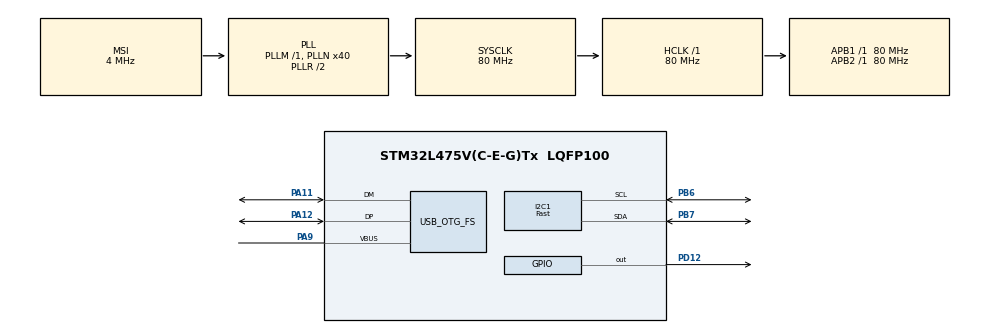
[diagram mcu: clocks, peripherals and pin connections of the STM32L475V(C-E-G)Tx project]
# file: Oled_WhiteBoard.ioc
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FREERTOS.Tasks01=USBTask,33,128,vUSB_HIDTask,Default,NULL,Dynamic,NULL,NULL;MouseMVMT,32,128,vMouseMouvementCalculation,Default,NULL,Dynamic,NULL,NULL
FREERTOS.configUSE_NEWLIB_REENTRANT=1
I2C1.I2C_Speed_Mode=I2C_Fast
I2C1.Timing=0x00702991
Mcu.Family=STM32L4
Mcu.Name=STM32L475V(C-E-G)Tx
Mcu.Package=LQFP100
NVIC.OTG_FS_IRQn=true\:5\:0\:false\:false\:true\:true\:false\:true\:true
NVIC.PriorityGroup=NVIC_PRIORITYGROUP_4
NVIC.TIM1_UP_TIM16_IRQn=true\:15\:0\:false\:false\:true\:false\:false\:true\:true
NVIC.TimeBase=TIM1_UP_TIM16_IRQn
NVIC.TimeBaseIP=TIM1
PA11.Mode=Host_Only
PA11.Signal=USB_OTG_FS_DM
PA12.Mode=Host_Only
PA12.Signal=USB_OTG_FS_DP
PA9.Mode=Activate_VBUS
PA9.Signal=USB_OTG_FS_VBUS
PB6.Mode=I2C
PB6.Signal=I2C1_SCL
PB7.Mode=I2C
PB7.Signal=I2C1_SDA
PD12.Signal=GPIO_Output
ProjectManager.HeapSize=0x200
ProjectManager.StackSize=0x400
ProjectManager.TargetToolchain=STM32CubeIDE
RCC.ADCFreq_Value=48000000
RCC.AHBFreq_Value=80000000
RCC.APB1Freq_Value=80000000
RCC.APB1TimFreq_Value=80000000
RCC.APB2Freq_Value=80000000
RCC.APB2TimFreq_Value=80000000
RCC.CortexFreq_Value=80000000
RCC.HCLKFreq_Value=80000000
RCC.HSE_VALUE=8000000
RCC.HSI_VALUE=16000000
RCC.LSE_VALUE=32768
RCC.MSI_VALUE=4000000
RCC.PLLN=40
RCC.PLLSAI1N=24
RCC.SYSCLKFreq_VALUE=80000000
RCC.SYSCLKSource=RCC_SYSCLKSOURCE_PLLCLK
RCC.USBFreq_Value=48000000
RCC.VCOOutputFreq_Value=160000000
USB_HOST.BSP.number=1
USB_HOST.USBH_HandleTypeDef=hUsbHostFS
USB_HOST.USBH_PROCESS_PRIO=osPriorityRealtime
USB_HOST.USBH_PROCESS_STACK_SIZE=128*4
USB_HOST.VirtualModeFS=Hid
USB_HOST0.BSP.STBoard=false
USB_HOST0.BSP.api=Unknown
USB_HOST0.BSP.instance=PD12
USB_HOST0.BSP.ip=GPIO
USB_HOST0.BSP.mode=Output
USB_HOST0.BSP.name=Drive_VBUS_FS
USB_HOST0.BSP.solution=PD12
USB_OTG_FS.VirtualMode=Host_Only
USB_OTG_FS.phy_itface=HCD_PHY_EMBEDDED
VP_FREERTOS_VS_CMSIS_V2.Mode=CMSIS_V2
VP_SYS_VS_tim1.Mode=TIM1
VP_USB_HOST_VS_USB_HOST_HID_FS.Mode=HID_FS
board=B-L475E-IOT01A1

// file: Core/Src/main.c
/* USER CODE BEGIN Header */
/**
 ******************************************************************************
 * @file           : main.c
 * @brief          : Main program body
 ******************************************************************************
 * @attention
 *
 * Copyright (c) 2023 STMicroelectronics.
 * All rights reserved.
 *
 * This software is licensed under terms that can be found in the LICENSE file
 * in the root directory of this software component.
 * If no LICENSE file comes with this software, it is provided AS-IS.
 *
 ******************************************************************************
 */
/* USER CODE END Header */
#include "main.h"
#include "cmsis_os.h"
#include "usb_host.h"

/* USER CODE BEGIN Includes */
#include "usbh_hid.h"
#include "FreeRTOS.h"
#include "queue.h"
#include "task.h"
/* USER CODE END Includes */

/* USER CODE BEGIN PTD */
typedef struct
{
	int16_t MouseSpeed_X;
	uint8_t RightButtonPressed;
}MouseMouvementReport;

/* USER CODE END PTD */

/* USER CODE BEGIN PM */
#define MOUVEMENT_QUEUE_SIZE 100
/* USER CODE END PM */

I2C_HandleTypeDef hi2c1;

/* Definitions for USBTask */
osThreadId_t USBTaskHandle;
const osThreadAttr_t USBTask_attributes = {
		.name = "USBTask",
		.stack_size = 128 * 4,
		.priority = (osPriority_t) osPriorityAboveNormal1,
};
/* Definitions for MouseMVMT */
osThreadId_t MouseMVMTHandle;
const osThreadAttr_t MouseMVMT_attributes = {
		.name = "MouseMVMT",
		.stack_size = 128 * 4,
		.priority = (osPriority_t) osPriorityAboveNormal,
};
/* USER CODE BEGIN PV */
HID_MOUSE_Info_TypeDef* HID_Mouse_CurrentInfos ;
int x , y ;

/* FREERTOS Objects Creation BEGIN */
QueueHandle_t MouseMouvementQueue ;
TaskHandle_t MouvementCalculationTask ;
/* FREERTOS Objects Creation END */

/* USER CODE END PV */

void SystemClock_Config(void);
static void MX_GPIO_Init(void);
static void MX_I2C1_Init(void);
void vUSB_HIDTask(void *argument);
void vMouseMouvementCalculation(void *argument);

int main(void)
{

	/* MCU Configuration--------------------------------------------------------*/

	/* Reset of all peripherals, Initializes the Flash interface and the Systick. */
	HAL_Init();

	/* Configure the system clock */
	SystemClock_Config();

	/* Initialize all configured peripherals */
	MX_GPIO_Init();
	MX_I2C1_Init();

	/* Init scheduler */
	osKernelInitialize();

	/* USER CODE BEGIN RTOS_QUEUES */
	/* add queues, ... */
	MouseMouvementQueue = xQueueCreate( MOUVEMENT_QUEUE_SIZE , sizeof ( MouseMouvementReport ) ) ;

	/* USER CODE END RTOS_QUEUES */

	/* Create the thread(s) */
	/* creation of USBTask */
	USBTaskHandle = osThreadNew(vUSB_HIDTask, NULL, &USBTask_attributes);

	/* creation of MouseMVMT */
	MouseMVMTHandle = osThreadNew(vMouseMouvementCalculation, NULL, &MouseMVMT_attributes);

	/* Start scheduler */
	osKernelStart();

	/* We should never get here as control is now taken by the scheduler */
	/* Infinite loop */
	while (1)
	{

	}
}

void SystemClock_Config(void)
{
	RCC_OscInitTypeDef RCC_OscInitStruct = {0};
	RCC_ClkInitTypeDef RCC_ClkInitStruct = {0};

	/** Configure the main internal regulator output voltage
	 */
	if (HAL_PWREx_ControlVoltageScaling(PWR_REGULATOR_VOLTAGE_SCALE1) != HAL_OK)
	{
		Error_Handler();
	}

	/** Initializes the RCC Oscillators according to the specified parameters
	 * in the RCC_OscInitTypeDef structure.
	 */
	RCC_OscInitStruct.OscillatorType = RCC_OSCILLATORTYPE_MSI;
	RCC_OscInitStruct.MSIState = RCC_MSI_ON;
	RCC_OscInitStruct.MSICalibrationValue = 0;
	RCC_OscInitStruct.MSIClockRange = RCC_MSIRANGE_6;
	RCC_OscInitStruct.PLL.PLLState = RCC_PLL_ON;
	RCC_OscInitStruct.PLL.PLLSource = RCC_PLLSOURCE_MSI;
	RCC_OscInitStruct.PLL.PLLM = 1;
	RCC_OscInitStruct.PLL.PLLN = 40;
	RCC_OscInitStruct.PLL.PLLP = RCC_PLLP_DIV7;
	RCC_OscInitStruct.PLL.PLLQ = RCC_PLLQ_DIV2;
	RCC_OscInitStruct.PLL.PLLR = RCC_PLLR_DIV2;
	if (HAL_RCC_OscConfig(&RCC_OscInitStruct) != HAL_OK)
	{
		Error_Handler();
	}

	/** Initializes the CPU, AHB and APB buses clocks
	 */
	RCC_ClkInitStruct.ClockType = RCC_CLOCKTYPE_HCLK|RCC_CLOCKTYPE_SYSCLK
			|RCC_CLOCKTYPE_PCLK1|RCC_CLOCKTYPE_PCLK2;
	RCC_ClkInitStruct.SYSCLKSource = RCC_SYSCLKSOURCE_PLLCLK;
	RCC_ClkInitStruct.AHBCLKDivider = RCC_SYSCLK_DIV1;
	RCC_ClkInitStruct.APB1CLKDivider = RCC_HCLK_DIV1;
	RCC_ClkInitStruct.APB2CLKDivider = RCC_HCLK_DIV1;

	if (HAL_RCC_ClockConfig(&RCC_ClkInitStruct, FLASH_LATENCY_4) != HAL_OK)
	{
		Error_Handler();
	}
}

static void MX_I2C1_Init(void)
{

	hi2c1.Instance = I2C1;
	hi2c1.Init.Timing = 0x00702991;
	hi2c1.Init.OwnAddress1 = 0;
	hi2c1.Init.AddressingMode = I2C_ADDRESSINGMODE_7BIT;
	hi2c1.Init.DualAddressMode = I2C_DUALADDRESS_DISABLE;
	hi2c1.Init.OwnAddress2 = 0;
	hi2c1.Init.OwnAddress2Masks = I2C_OA2_NOMASK;
	hi2c1.Init.GeneralCallMode = I2C_GENERALCALL_DISABLE;
	hi2c1.Init.NoStretchMode = I2C_NOSTRETCH_DISABLE;
	if (HAL_I2C_Init(&hi2c1) != HAL_OK)
	{
		Error_Handler();
	}

	/** Configure Analogue filter
	 */
	if (HAL_I2CEx_ConfigAnalogFilter(&hi2c1, I2C_ANALOGFILTER_ENABLE) != HAL_OK)
	{
		Error_Handler();
	}

	/** Configure Digital filter
	 */
	if (HAL_I2CEx_ConfigDigitalFilter(&hi2c1, 0) != HAL_OK)
	{
		Error_Handler();
	}

}

static void MX_GPIO_Init(void)
{
	GPIO_InitTypeDef GPIO_InitStruct = {0};

	/* GPIO Ports Clock Enable */
	__HAL_RCC_GPIOD_CLK_ENABLE();
	__HAL_RCC_GPIOA_CLK_ENABLE();
	__HAL_RCC_GPIOB_CLK_ENABLE();

	/*Configure GPIO pin Output Level */
	HAL_GPIO_WritePin(GPIOD, GPIO_PIN_12, GPIO_PIN_RESET);

	/*Configure GPIO pin : PD12 */
	GPIO_InitStruct.Pin = GPIO_PIN_12;
	GPIO_InitStruct.Mode = GPIO_MODE_OUTPUT_PP;
	GPIO_InitStruct.Pull = GPIO_NOPULL;
	GPIO_InitStruct.Speed = GPIO_SPEED_FREQ_LOW;
	HAL_GPIO_Init(GPIOD, &GPIO_InitStruct);

}

/* USER CODE BEGIN 4 */
void USBH_HID_EventCallback(USBH_HandleTypeDef *phost)
{
	MouseMouvementReport CuurentMouseReport ;
	BaseType_t xHigherPriorityTaskWoken = pdFALSE;

	if ( USBH_HID_GetDeviceType( phost ) == HID_MOUSE )
	{
		HID_Mouse_CurrentInfos = USBH_HID_GetMouseInfo(phost) ;
		CuurentMouseReport.MouseSpeed_X = HID_Mouse_CurrentInfos->x ;
		CuurentMouseReport.RightButtonPressed = HID_Mouse_CurrentInfos->buttons[0] ;
		xQueueSendFromISR(MouseMouvementQueue, &CuurentMouseReport ,&xHigherPriorityTaskWoken ) ;
	}
}

/* RTOS TASKS BEGIN */

/* RTOS TASKS END */
/* USER CODE END 4 */

void vUSB_HIDTask(void *argument)
{
	/* init code for USB_HOST */
	MX_USB_HOST_Init();
	HAL_GPIO_WritePin(GPIOD, GPIO_PIN_12 ,GPIO_PIN_RESET ) ;

	/* USER CODE BEGIN 5 */
	/* Infinite loop */
	for(;;)
	{
		vTaskDelay(2) ;
	}
	/* USER CODE END 5 */
}

void vMouseMouvementCalculation(void *argument)
{
	/* USER CODE BEGIN vMouseMouvementCalculation */
	/* Infinite loop */
	for(;;)
	{
		MouseMouvementReport CurrentMouseReport ;
		uint8_t CurrentMouseX_u8 = 0 ;
		for (;;)
		{
			if ( xQueueReceive(MouseMouvementQueue, &CurrentMouseReport, portMAX_DELAY ) )
			{
				CurrentMouseX_u8 += CurrentMouseReport.MouseSpeed_X ;
			}
			else
			{
				vTaskDelay(100) ;
			}
		}  }
	/* USER CODE END vMouseMouvementCalculation */
}

void HAL_TIM_PeriodElapsedCallback(TIM_HandleTypeDef *htim)
{
	if (htim->Instance == TIM1) {
		HAL_IncTick();
	}
}

void Error_Handler(void)
{
	__disable_irq();
	while (1)
	{
	}
}
